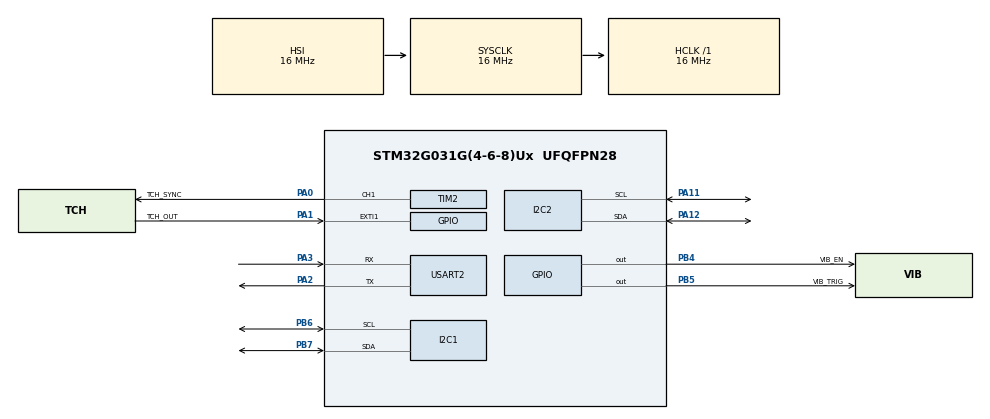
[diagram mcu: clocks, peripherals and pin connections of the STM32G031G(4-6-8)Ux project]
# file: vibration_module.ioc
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I2C1.Timing=0x00503D58
I2C2.Timing=0x00503D58
Mcu.Family=STM32G0
Mcu.Name=STM32G031G(4-6-8)Ux
Mcu.Package=UFQFPN28
NVIC.EXTI0_1_IRQn=true\:0\:0\:false\:false\:true\:true\:true\:true
PA0.GPIO_Label=TCH_SYNC
PA0.Signal=S_TIM2_CH1_ETR
PA1.GPIO_Label=TCH_OUT
PA1.GPIO_ModeDefaultEXTI=GPIO_MODE_IT_RISING_FALLING
PA1.GPIO_PuPd=GPIO_NOPULL
PA1.Signal=GPXTI1
PA11\ [PA9].Mode=I2C
PA11\ [PA9].Signal=I2C2_SCL
PA12\ [PA10].Mode=I2C
PA12\ [PA10].Signal=I2C2_SDA
PA13.Mode=Serial_Wire
PA13.Signal=SYS_SWDIO
PA14-BOOT0.Mode=Serial_Wire
PA14-BOOT0.Signal=SYS_SWCLK
PA2.Mode=Asynchronous
PA2.Signal=USART2_TX
PA3.Mode=Asynchronous
PA3.Signal=USART2_RX
PB4.GPIO_Label=VIB_EN
PB4.Signal=GPIO_Output
PB5.GPIO_Label=VIB_TRIG
PB5.Signal=GPIO_Output
PB6.Mode=I2C
PB6.Signal=I2C1_SCL
PB7.Mode=I2C
PB7.Signal=I2C1_SDA
ProjectManager.HeapSize=0x200
ProjectManager.StackSize=0x400
ProjectManager.TargetToolchain=CMake
RCC.ADCFreq_Value=16000000
RCC.AHBFreq_Value=16000000
RCC.CortexFreq_Value=16000000
RCC.EXTERNAL_CLOCK_VALUE=12288000
RCC.HCLKFreq_Value=16000000
RCC.HSE_VALUE=8000000
RCC.HSI_VALUE=16000000
RCC.LSE_VALUE=32768
RCC.SYSCLKFreq_VALUE=16000000
RCC.VCOOutputFreq_Value=128000000
SH.S_TIM2_CH1_ETR.0=TIM2_CH1,PWM Generation1 CH1
TIM2.Channel-PWM\ Generation1\ CH1=TIM_CHANNEL_1
USART2.VirtualMode-Asynchronous=VM_ASYNC
board=custom

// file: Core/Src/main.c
/* USER CODE BEGIN Header */
/**
 ******************************************************************************
 * @file           : main.c
 * @brief          : Main program body
 ******************************************************************************
 * @attention
 *
 * Copyright (c) 2025 STMicroelectronics.
 * All rights reserved.
 *
 * This software is licensed under terms that can be found in the LICENSE file
 * in the root directory of this software component.
 * If no LICENSE file comes with this software, it is provided AS-IS.
 *
 ******************************************************************************
 */
/* USER CODE END Header */
#include "main.h"

/* USER CODE BEGIN Includes */
#include <stdbool.h>
#include <stdio.h>
#include <string.h>
/* USER CODE END Includes */

I2C_HandleTypeDef hi2c1;
I2C_HandleTypeDef hi2c2;

TIM_HandleTypeDef htim2;

UART_HandleTypeDef huart2;

/* USER CODE BEGIN PV */
static volatile bool g_touch_event = false;
/* USER CODE END PV */

void SystemClock_Config(void);
static void MX_GPIO_Init(void);
static void MX_I2C1_Init(void);
static void MX_I2C2_Init(void);
static void MX_TIM2_Init(void);
static void MX_USART2_UART_Init(void);
/* USER CODE BEGIN PFP */
static void handle_tch_out_interrupt(void);
/* USER CODE END PFP */

/* USER CODE BEGIN 0 */

// DRV2605L I2C address: 7-bit 0x5A (HAL expects left-shifted)
#define DRV2605_ADDR (0x5A << 1)

/* Key registers */
#define DRV2605_REG_STATUS 0x00
#define DRV2605_REG_MODE 0x01
#define DRV2605_REG_RTP_INPUT 0x02
#define DRV2605_REG_LIBRARY 0x03
#define DRV2605_REG_WAVESEQ1 0x04 // 0x04..0x0B
#define DRV2605_REG_GO 0x0C
#define DRV2605_REG_RATEDV 0x16
#define DRV2605_REG_CLAMPV 0x17
#define DRV2605_REG_FEEDBACK 0x1A
#define DRV2605_REG_CTRL1 0x1B
#define DRV2605_REG_CTRL2 0x1C
#define DRV2605_REG_CTRL3 0x1D
#define DRV2605_REG_AUTOCAL 0x1E

/* Library select: bits [2:0]; 6 = LRA library per datasheet */
#define DRV2605_LIB_LRA 0x06

/* MODE register [2:0] */
#define DRV2605_MODE_INTTRIG 0x00
#define DRV2605_MODE_AUTOCAL 0x07

/* Example effect IDs from ROM: 1 = Strong Click (100%) */
#define DRV2605_EFFECT_STRONG_CLICK_100 1

/* Typical LRA defaults from TI’s setup guide:
   RATED_VOLT_CODE for ~2 Vrms  => 0x53
   OD_CLAMP_CODE  for ~3 Vpeak  => 0x89
   Feedback/Control registers for LRA closed-loop library playback:
   FEEDBACK 0x1A = 0xB6 (bit7 LRA select + recommended gains)
   CTRL1    0x1B = 0x13
   CTRL2    0x1C = 0xF5
   CTRL3    0x1D = 0x80
   You can tweak RATED/CLAMP codes for your actuator; see formulas below. */
#define DRV2605_RATED_VOLT_CODE 0x53
#define DRV2605_OD_CLAMP_CODE 0x89

/* Helper: I2C single-byte write/read */
static HAL_StatusTypeDef drv2605_write(uint8_t reg, uint8_t val) {
  return HAL_I2C_Mem_Write(&hi2c1, DRV2605_ADDR, reg, I2C_MEMADD_SIZE_8BIT,
                           &val, 1, 100);
}
static HAL_StatusTypeDef drv2605_read(uint8_t reg, uint8_t *val) {
  return HAL_I2C_Mem_Read(&hi2c1, DRV2605_ADDR, reg, I2C_MEMADD_SIZE_8BIT, val,
                          1, 100);
}

/* Wait for GO bit to clear after autocal / playback */
static HAL_StatusTypeDef drv2605_wait_go_clear(uint32_t timeout_ms) {
  uint32_t start = HAL_GetTick();
  uint8_t go = 1;
  while ((HAL_GetTick() - start) < timeout_ms) {
    if (drv2605_read(DRV2605_REG_GO, &go) != HAL_OK)
      return HAL_ERROR;
    if ((go & 0x01) == 0)
      return HAL_OK;
  }
  return HAL_TIMEOUT;
}

/* Initialize DRV2605L for LRA, closed-loop, ROM library playback + autocal */
static void drv2605_init_lra(void) {
  HAL_Delay(1); // TI: wait >=250us after power-up for I2C
  HAL_GPIO_WritePin(VIB_EN_GPIO_Port, VIB_EN_Pin, GPIO_PIN_SET); // enable DRV
  HAL_Delay(1);

  /* Exit standby, default to internal trigger mode */
  if (drv2605_write(DRV2605_REG_MODE, DRV2605_MODE_INTTRIG) != HAL_OK)
    Error_Handler();

  /* Select LRA library */
  if (drv2605_write(DRV2605_REG_LIBRARY, DRV2605_LIB_LRA) != HAL_OK)
    Error_Handler();

  /* Program typical LRA settings (can keep defaults, these are good starting
   * points) */
  if (drv2605_write(DRV2605_REG_RATEDV, DRV2605_RATED_VOLT_CODE) != HAL_OK)
    Error_Handler();
  if (drv2605_write(DRV2605_REG_CLAMPV, DRV2605_OD_CLAMP_CODE) != HAL_OK)
    Error_Handler();

  if (drv2605_write(DRV2605_REG_FEEDBACK, 0xB6) != HAL_OK) // LRA + gains
    Error_Handler();
  if (drv2605_write(DRV2605_REG_CTRL1, 0x13) != HAL_OK)
    Error_Handler();
  if (drv2605_write(DRV2605_REG_CTRL2, 0xF5) != HAL_OK)
    Error_Handler();
  if (drv2605_write(DRV2605_REG_CTRL3, 0x80) != HAL_OK)
    Error_Handler();

  /* Optional: extend autocal time a bit (0x1E = 0x20 ~ 500 ms) */
  (void)drv2605_write(DRV2605_REG_AUTOCAL, 0x20);

  /* Run auto-calibration (MODE=0x07 then GO=1) */
  if (drv2605_write(DRV2605_REG_MODE, DRV2605_MODE_AUTOCAL) != HAL_OK)
    Error_Handler();
  if (drv2605_write(DRV2605_REG_GO, 0x01) != HAL_OK)
    Error_Handler();
  if (drv2605_wait_go_clear(2000) != HAL_OK) // up to ~2s
    Error_Handler();

  /* Back to internal trigger mode for library playback */
  if (drv2605_write(DRV2605_REG_MODE, DRV2605_MODE_INTTRIG) != HAL_OK)
    Error_Handler();

  /* Preload a one-shot waveform in slot 1 (slot2 = 0 terminates the sequence)
   */
  if (drv2605_write(DRV2605_REG_WAVESEQ1, DRV2605_EFFECT_STRONG_CLICK_100) !=
      HAL_OK)
    Error_Handler();
  if (drv2605_write(DRV2605_REG_WAVESEQ1 + 1, 0x00) != HAL_OK)
    Error_Handler();

  printf("DRV2605L initialized (LRA, library %d)\r\n", DRV2605_LIB_LRA);
}

/* Trigger playback of the preloaded effect */
static void drv2605_play(void) {
  /* If you power-save by deasserting EN, assert it here first */
  // HAL_GPIO_WritePin(VIB_EN_GPIO_Port, VIB_EN_Pin, GPIO_PIN_SET);

  /* Kick GO bit; it auto-clears when the effect finishes */
  if (drv2605_write(DRV2605_REG_GO, 0x01) != HAL_OK) {
    Error_Handler();
  }
}

/* USER CODE END 0 */

int main(void) {

  /* MCU Configuration--------------------------------------------------------*/

  /* Reset of all peripherals, Initializes the Flash interface and the Systick.
   */
  HAL_Init();

  /* Configure the system clock */
  SystemClock_Config();

  /* Initialize all configured peripherals */
  MX_GPIO_Init();
  MX_I2C1_Init();
  MX_I2C2_Init();
  MX_TIM2_Init();
  MX_USART2_UART_Init();
  /* USER CODE BEGIN 2 */
  printf("Starting...\r\n");
  HAL_TIM_Base_Start(&htim2);
  drv2605_init_lra();
  /* USER CODE END 2 */

  /* Infinite loop */
  while (1) {
    if (g_touch_event) {
      g_touch_event = false;
      drv2605_play();
      printf("Haptic: effect %d\r\n", DRV2605_EFFECT_STRONG_CLICK_100);
    }
  }
}

void SystemClock_Config(void) {
  RCC_OscInitTypeDef RCC_OscInitStruct = {0};
  RCC_ClkInitTypeDef RCC_ClkInitStruct = {0};

  /** Configure the main internal regulator output voltage
   */
  HAL_PWREx_ControlVoltageScaling(PWR_REGULATOR_VOLTAGE_SCALE1);

  /** Initializes the RCC Oscillators according to the specified parameters
   * in the RCC_OscInitTypeDef structure.
   */
  RCC_OscInitStruct.OscillatorType = RCC_OSCILLATORTYPE_HSI;
  RCC_OscInitStruct.HSIState = RCC_HSI_ON;
  RCC_OscInitStruct.HSIDiv = RCC_HSI_DIV1;
  RCC_OscInitStruct.HSICalibrationValue = RCC_HSICALIBRATION_DEFAULT;
  RCC_OscInitStruct.PLL.PLLState = RCC_PLL_NONE;
  if (HAL_RCC_OscConfig(&RCC_OscInitStruct) != HAL_OK) {
    Error_Handler();
  }

  /** Initializes the CPU, AHB and APB buses clocks
   */
  RCC_ClkInitStruct.ClockType =
      RCC_CLOCKTYPE_HCLK | RCC_CLOCKTYPE_SYSCLK | RCC_CLOCKTYPE_PCLK1;
  RCC_ClkInitStruct.SYSCLKSource = RCC_SYSCLKSOURCE_HSI;
  RCC_ClkInitStruct.AHBCLKDivider = RCC_SYSCLK_DIV1;
  RCC_ClkInitStruct.APB1CLKDivider = RCC_HCLK_DIV1;

  if (HAL_RCC_ClockConfig(&RCC_ClkInitStruct, FLASH_LATENCY_0) != HAL_OK) {
    Error_Handler();
  }
}

static void MX_I2C1_Init(void) {

  hi2c1.Instance = I2C1;
  hi2c1.Init.Timing = 0x00503D58;
  hi2c1.Init.OwnAddress1 = 0;
  hi2c1.Init.AddressingMode = I2C_ADDRESSINGMODE_7BIT;
  hi2c1.Init.DualAddressMode = I2C_DUALADDRESS_DISABLE;
  hi2c1.Init.OwnAddress2 = 0;
  hi2c1.Init.OwnAddress2Masks = I2C_OA2_NOMASK;
  hi2c1.Init.GeneralCallMode = I2C_GENERALCALL_DISABLE;
  hi2c1.Init.NoStretchMode = I2C_NOSTRETCH_DISABLE;
  if (HAL_I2C_Init(&hi2c1) != HAL_OK) {
    Error_Handler();
  }

  /** Configure Analogue filter
   */
  if (HAL_I2CEx_ConfigAnalogFilter(&hi2c1, I2C_ANALOGFILTER_ENABLE) != HAL_OK) {
    Error_Handler();
  }

  /** Configure Digital filter
   */
  if (HAL_I2CEx_ConfigDigitalFilter(&hi2c1, 0) != HAL_OK) {
    Error_Handler();
  }
}

static void MX_I2C2_Init(void) {

  hi2c2.Instance = I2C2;
  hi2c2.Init.Timing = 0x00503D58;
  hi2c2.Init.OwnAddress1 = 0;
  hi2c2.Init.AddressingMode = I2C_ADDRESSINGMODE_7BIT;
  hi2c2.Init.DualAddressMode = I2C_DUALADDRESS_DISABLE;
  hi2c2.Init.OwnAddress2 = 0;
  hi2c2.Init.OwnAddress2Masks = I2C_OA2_NOMASK;
  hi2c2.Init.GeneralCallMode = I2C_GENERALCALL_DISABLE;
  hi2c2.Init.NoStretchMode = I2C_NOSTRETCH_DISABLE;
  if (HAL_I2C_Init(&hi2c2) != HAL_OK) {
    Error_Handler();
  }

  /** Configure Analogue filter
   */
  if (HAL_I2CEx_ConfigAnalogFilter(&hi2c2, I2C_ANALOGFILTER_ENABLE) != HAL_OK) {
    Error_Handler();
  }

  /** Configure Digital filter
   */
  if (HAL_I2CEx_ConfigDigitalFilter(&hi2c2, 0) != HAL_OK) {
    Error_Handler();
  }
}

static void MX_TIM2_Init(void) {

  TIM_MasterConfigTypeDef sMasterConfig = {0};
  TIM_OC_InitTypeDef sConfigOC = {0};

  htim2.Instance = TIM2;
  htim2.Init.Prescaler = 0;
  htim2.Init.CounterMode = TIM_COUNTERMODE_UP;
  htim2.Init.Period = 4294967295;
  htim2.Init.ClockDivision = TIM_CLOCKDIVISION_DIV1;
  htim2.Init.AutoReloadPreload = TIM_AUTORELOAD_PRELOAD_DISABLE;
  if (HAL_TIM_PWM_Init(&htim2) != HAL_OK) {
    Error_Handler();
  }
  sMasterConfig.MasterOutputTrigger = TIM_TRGO_RESET;
  sMasterConfig.MasterSlaveMode = TIM_MASTERSLAVEMODE_DISABLE;
  if (HAL_TIMEx_MasterConfigSynchronization(&htim2, &sMasterConfig) != HAL_OK) {
    Error_Handler();
  }
  sConfigOC.OCMode = TIM_OCMODE_PWM1;
  sConfigOC.Pulse = 0;
  sConfigOC.OCPolarity = TIM_OCPOLARITY_HIGH;
  sConfigOC.OCFastMode = TIM_OCFAST_DISABLE;
  if (HAL_TIM_PWM_ConfigChannel(&htim2, &sConfigOC, TIM_CHANNEL_1) != HAL_OK) {
    Error_Handler();
  }
  HAL_TIM_MspPostInit(&htim2);
}

static void MX_USART2_UART_Init(void) {

  huart2.Instance = USART2;
  huart2.Init.BaudRate = 115200;
  huart2.Init.WordLength = UART_WORDLENGTH_8B;
  huart2.Init.StopBits = UART_STOPBITS_1;
  huart2.Init.Parity = UART_PARITY_NONE;
  huart2.Init.Mode = UART_MODE_TX_RX;
  huart2.Init.HwFlowCtl = UART_HWCONTROL_NONE;
  huart2.Init.OverSampling = UART_OVERSAMPLING_16;
  huart2.Init.OneBitSampling = UART_ONE_BIT_SAMPLE_DISABLE;
  huart2.Init.ClockPrescaler = UART_PRESCALER_DIV1;
  huart2.AdvancedInit.AdvFeatureInit = UART_ADVFEATURE_NO_INIT;
  if (HAL_UART_Init(&huart2) != HAL_OK) {
    Error_Handler();
  }
}

static void MX_GPIO_Init(void) {
  GPIO_InitTypeDef GPIO_InitStruct = {0};

  /* GPIO Ports Clock Enable */
  __HAL_RCC_GPIOA_CLK_ENABLE();
  __HAL_RCC_GPIOB_CLK_ENABLE();

  /*Configure GPIO pin Output Level */
  HAL_GPIO_WritePin(GPIOB, VIB_EN_Pin | VIB_TRIG_Pin, GPIO_PIN_RESET);

  /*Configure GPIO pin : TCH_OUT_Pin */
  GPIO_InitStruct.Pin = TCH_OUT_Pin;
  GPIO_InitStruct.Mode = GPIO_MODE_IT_RISING_FALLING;
  GPIO_InitStruct.Pull = GPIO_NOPULL;
  HAL_GPIO_Init(TCH_OUT_GPIO_Port, &GPIO_InitStruct);

  /*Configure GPIO pins : VIB_EN_Pin VIB_TRIG_Pin */
  GPIO_InitStruct.Pin = VIB_EN_Pin | VIB_TRIG_Pin;
  GPIO_InitStruct.Mode = GPIO_MODE_OUTPUT_PP;
  GPIO_InitStruct.Pull = GPIO_NOPULL;
  GPIO_InitStruct.Speed = GPIO_SPEED_FREQ_LOW;
  HAL_GPIO_Init(GPIOB, &GPIO_InitStruct);

  /* EXTI interrupt init*/
  HAL_NVIC_SetPriority(EXTI0_1_IRQn, 0, 0);
  HAL_NVIC_EnableIRQ(EXTI0_1_IRQn);

}

/* USER CODE BEGIN 4 */
void HAL_GPIO_EXTI_Rising_Callback(uint16_t GPIO_Pin) {
  if (GPIO_Pin == TCH_OUT_Pin) {
    g_touch_event = true;
  }
}

void HAL_GPIO_EXTI_Falling_Callback(uint16_t GPIO_Pin) {
  if (GPIO_Pin == TCH_OUT_Pin) {
    g_touch_event = true;
  }
}
/* USER CODE END 4 */

void Error_Handler(void) {
  __disable_irq();
  while (1) {
  }
}
#ifdef USE_FULL_ASSERT
/**
 * @brief  Reports the name of the source file and the source line number
 *         where the assert_param error has occurred.
 * @param  file: pointer to the source file name
 * @param  line: assert_param error line source number
 * @retval None
 */
void assert_failed(uint8_t *file, uint32_t line) {
  /* USER CODE BEGIN 6 */
  /* User can add his own implementation to report the file name and line
     number, ex: printf("Wrong parameters value: file %s on line %d\r\n", file,
     line) */
  /* USER CODE END 6 */
}
#endif /* USE_FULL_ASSERT */
